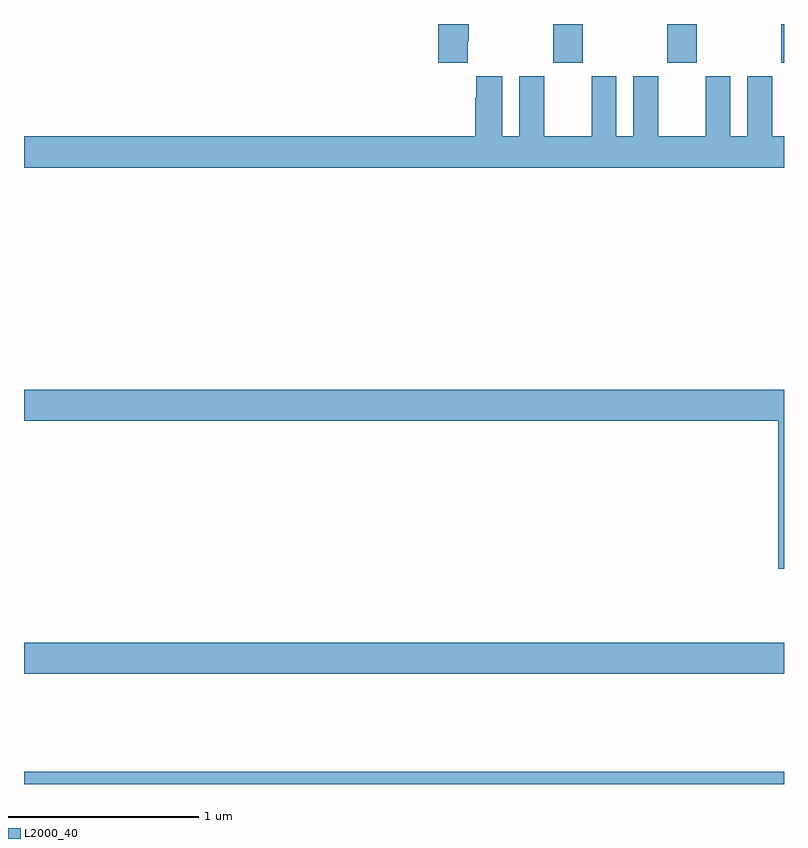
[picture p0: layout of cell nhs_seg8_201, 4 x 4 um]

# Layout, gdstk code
import gdstk
lib = gdstk.Library(unit=1e-6, precision=1e-09)
def R(c, l, rs):  # rectangles x0, y0, x1, y1
    for r in rs: c.add(gdstk.rectangle(r[:2], r[2:], *l))
def P(c, l, *ps):  # polygons
    for p in ps: c.add(gdstk.Polygon(p, *l))
L2000_40 = (2000, 40)

nhs_seg8_201 = lib.new_cell('nhs_seg8_201')
R(nhs_seg8_201, L2000_40, [(123,1135.9,127,1135.964), (123,1136.48,127,1136.644), (125.785,1139.697,125.94,1139.9), (126.385,1139.697,126.54,1139.9), (126.985,1139.697,127,1139.9)])
P(nhs_seg8_201, L2000_40, [(125.335,1139.809),(125.34,1139.809),(125.34,1139.9),(125.18,1139.9),(125.18,1139.697),(125.335,1139.697)],
  [(127,1139.308),(126.937,1139.308),(126.937,1139.626),(126.806,1139.626),(126.806,1139.308),(126.718,1139.308),(126.718,1139.626),(126.587,1139.626),(126.587,1139.308),(126.337,1139.308),(126.337,1139.626),(126.206,1139.626),(126.206,1139.308),(126.118,1139.308),(126.118,1139.626),(125.987,1139.626),(125.987,1139.308),(125.737,1139.308),(125.737,1139.626),(125.606,1139.626),(125.606,1139.308),(125.518,1139.308),(125.518,1139.626),(125.381,1139.626),(125.381,1139.513),(125.375,1139.513),(125.375,1139.308),(123,1139.308),(123,1139.144),(127,1139.144)],
  [(127,1137.976),(123,1137.976),(123,1137.812),(126.971,1137.812),(126.971,1137.033),(127,1137.033)])

lib.write_gds('nhs_seg8_201.gds')
